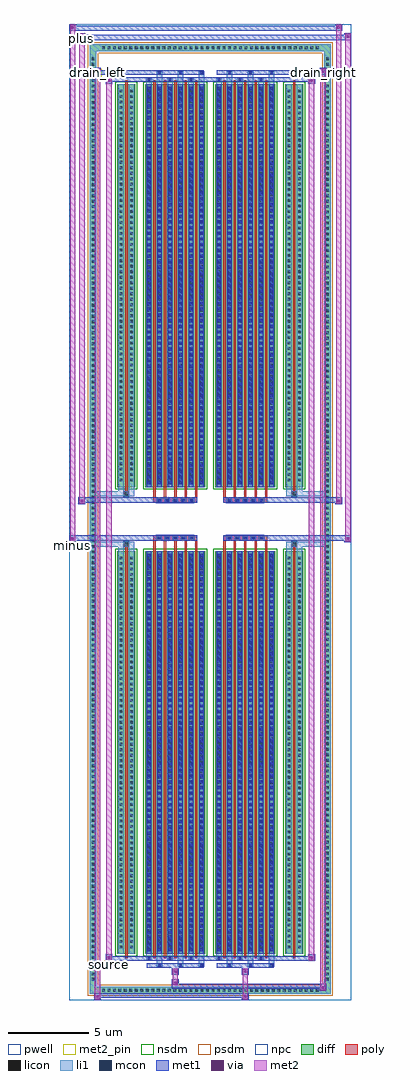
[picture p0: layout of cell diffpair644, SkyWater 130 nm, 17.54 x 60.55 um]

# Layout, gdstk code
import gdstk
lib = gdstk.Library(unit=1e-6, precision=5e-09)
def R(c, l, rs):  # rectangles x0, y0, x1, y1
    for r in rs: c.add(gdstk.rectangle(r[:2], r[2:], *l))
def A(c, l, x, y, w, h, nx, ny, dx, dy):  # array of equal rectangles
    R(c, l, [(x+i*dx, y+j*dy, x+i*dx+w, y+j*dy+h) for i in range(nx) for j in range(ny)])
def P(c, l, *ps):  # polygons
    for p in ps: c.add(gdstk.Polygon(p, *l))
pwell = (64, 44)
diff = (65, 20)
poly = (66, 20)
licon = (66, 44)
li1 = (67, 20)
mcon = (67, 44)
met1 = (68, 20)
via = (68, 44)
met2_pin = (69, 16)
met2 = (69, 20)
nsdm = (93, 44)
psdm = (94, 20)
npc = (95, 20)

diffpair644 = lib.new_cell('diffpair644')
R(diffpair644, pwell, [(-8.75,-29.84,8.75,30.71), (-6.07,-28.03,-0.01,-0.805), (0.01,-28.03,6.07,-0.805), (-6.07,0.805,-0.01,28.03), (0.01,0.805,6.07,28.03)])
A(diffpair644, diff, -6.835, -29.44, 0.41, 0.41, 40, 2, 0.34, 58.47)
A(diffpair644, diff, -7.48, -28.765, 0.41, 0.41, 1, 169, 0, 0.34)
A(diffpair644, diff, 7.07, -28.765, 0.41, 0.41, 1, 169, 0, 0.34)
R(diffpair644, diff, [(-6.835,-29.44,6.835,-29.03), (-7.48,-28.765,-7.07,28.765), (7.07,-28.765,7.48,28.765), (-5.76,-26.985,-4.66,-1.985), (-4.02,-26.985,-0.32,-1.985), (0.32,-26.985,4.02,-1.985), (4.66,-26.985,5.76,-1.985), (-5.76,1.985,-4.66,26.985), (-4.02,1.985,-0.32,26.985), (0.32,1.985,4.02,26.985), (4.66,1.985,5.76,26.985), (-6.835,29.03,6.835,29.44)])
P(diffpair644, diff, [(7.48,29.44),(-7.48,29.44),(-7.48,-29.03),(-7.07,-29.03),(-7.07,29.03),(7.07,29.03),(7.07,-29.03),(-7.07,-29.03),(-7.48,-29.03),(-7.48,-29.44),(7.48,-29.44)])
A(diffpair644, poly, -3.545, -27.235, 0.15, 25.5, 5, 2, 0.65, 28.97)
A(diffpair644, poly, 0.795, -27.235, 0.15, 25.5, 5, 2, 0.65, 28.97)
A(diffpair644, poly, -3.545, -1.735, 0.15, 0.4, 5, 2, 0.65, 3.07)
A(diffpair644, poly, 0.795, -1.735, 0.15, 0.4, 5, 2, 0.65, 3.07)
A(diffpair644, poly, -3.335, -1.335, 0.33, 0.33, 5, 2, 0.5, 2.34)
A(diffpair644, poly, 1.005, -1.335, 0.33, 0.33, 5, 2, 0.5, 2.34)
R(diffpair644, poly, [(-5.285,-27.235,-5.135,-1.735), (5.135,-27.235,5.285,-1.735), (-5.375,-1.735,-5.045,-1.405), (-5.375,-1.735,-5.045,-1.405), (5.045,-1.735,5.375,-1.405), (5.045,-1.735,5.375,-1.405), (-3.545,-1.335,-0.795,-1.005), (0.795,-1.335,3.545,-1.005), (-3.545,1.005,-0.795,1.335), (0.795,1.005,3.545,1.335), (-5.375,1.405,-5.045,1.735), (-5.375,1.405,-5.045,1.735), (5.045,1.405,5.375,1.735), (5.045,1.405,5.375,1.735), (-5.285,1.735,-5.135,27.235), (5.135,1.735,5.285,27.235)])
A(diffpair644, licon, -6.715, -29.32, 0.17, 0.17, 40, 2, 0.34, 58.47)
A(diffpair644, licon, -7.36, -28.645, 0.17, 0.17, 1, 169, 0, 0.34)
A(diffpair644, licon, 7.19, -28.645, 0.17, 0.17, 1, 169, 0, 0.34)
A(diffpair644, licon, -5.62, -26.64, 0.17, 0.17, 1, 72, 0, 0.34)
A(diffpair644, licon, -4.97, -26.64, 0.17, 0.17, 1, 72, 0, 0.34)
A(diffpair644, licon, -3.88, -26.64, 0.17, 0.17, 6, 72, 0.65, 0.34)
A(diffpair644, licon, 0.46, -26.64, 0.17, 0.17, 6, 72, 0.65, 0.34)
A(diffpair644, licon, 4.8, -26.64, 0.17, 0.17, 1, 72, 0, 0.34)
A(diffpair644, licon, 5.45, -26.64, 0.17, 0.17, 1, 72, 0, 0.34)
A(diffpair644, licon, -3.255, -1.255, 0.17, 0.17, 5, 2, 0.5, 2.34)
A(diffpair644, licon, 1.085, -1.255, 0.17, 0.17, 5, 2, 0.5, 2.34)
A(diffpair644, licon, -5.62, 2.33, 0.17, 0.17, 1, 72, 0, 0.34)
A(diffpair644, licon, -4.97, 2.33, 0.17, 0.17, 1, 72, 0, 0.34)
A(diffpair644, licon, -3.88, 2.33, 0.17, 0.17, 6, 72, 0.65, 0.34)
A(diffpair644, licon, 0.46, 2.33, 0.17, 0.17, 6, 72, 0.65, 0.34)
A(diffpair644, licon, 4.8, 2.33, 0.17, 0.17, 1, 72, 0, 0.34)
A(diffpair644, licon, 5.45, 2.33, 0.17, 0.17, 1, 72, 0, 0.34)
R(diffpair644, licon, [(-5.295,-1.655,-5.125,-1.485), (5.125,-1.655,5.295,-1.485), (-5.295,1.485,-5.125,1.655), (5.125,1.485,5.295,1.655)])
A(diffpair644, li1, -6.795, -29.4, 0.33, 0.33, 40, 2, 0.34, 58.47)
A(diffpair644, li1, -7.44, -28.725, 0.33, 0.33, 1, 169, 0, 0.34)
A(diffpair644, li1, 7.11, -28.725, 0.33, 0.33, 1, 169, 0, 0.34)
A(diffpair644, li1, -3.31, -27.79, 0.33, 0.805, 3, 2, 1.3, 54.775)
A(diffpair644, li1, -3.23, -27.79, 0.17, 0.17, 3, 2, 1.3, 55.41)
A(diffpair644, li1, 1.03, -27.79, 0.33, 0.805, 3, 2, 1.3, 54.775)
A(diffpair644, li1, 1.11, -27.79, 0.17, 0.17, 3, 2, 1.3, 55.41)
A(diffpair644, li1, -3.96, -27.36, 0.33, 0.375, 3, 2, 1.3, 54.345)
A(diffpair644, li1, -3.88, -27.36, 0.17, 0.17, 3, 2, 1.3, 54.55)
A(diffpair644, li1, 0.38, -27.36, 0.33, 0.375, 3, 2, 1.3, 54.345)
A(diffpair644, li1, 0.46, -27.36, 0.17, 0.17, 3, 2, 1.3, 54.55)
A(diffpair644, li1, -3.96, -26.985, 0.33, 25, 6, 2, 0.65, 28.97)
A(diffpair644, li1, 0.38, -26.985, 0.33, 25, 6, 2, 0.65, 28.97)
A(diffpair644, li1, -3.88, -26.81, 0.17, 0.17, 6, 69, 0.65, 0.36)
A(diffpair644, li1, -3.88, -26.81, 0.17, 24.65, 6, 2, 0.65, 28.97)
A(diffpair644, li1, 0.46, -26.81, 0.17, 0.17, 6, 69, 0.65, 0.36)
A(diffpair644, li1, 0.46, -26.81, 0.17, 24.65, 6, 2, 0.65, 28.97)
A(diffpair644, li1, -5.7, -26.72, 0.33, 0.33, 1, 72, 0, 0.34)
A(diffpair644, li1, -5.05, -26.72, 0.33, 0.33, 1, 72, 0, 0.34)
A(diffpair644, li1, -3.96, -26.72, 0.33, 0.33, 6, 72, 0.65, 0.34)
A(diffpair644, li1, 0.38, -26.72, 0.33, 0.33, 6, 72, 0.65, 0.34)
A(diffpair644, li1, 4.72, -26.72, 0.33, 0.33, 1, 72, 0, 0.34)
A(diffpair644, li1, 5.37, -26.72, 0.33, 0.33, 1, 72, 0, 0.34)
A(diffpair644, li1, -3.335, -1.335, 0.33, 0.33, 5, 2, 0.5, 2.34)
A(diffpair644, li1, 1.005, -1.335, 0.33, 0.33, 5, 2, 0.5, 2.34)
A(diffpair644, li1, -3.88, 2.16, 0.17, 0.17, 6, 69, 0.65, 0.36)
A(diffpair644, li1, 0.46, 2.16, 0.17, 0.17, 6, 69, 0.65, 0.36)
A(diffpair644, li1, -5.7, 2.25, 0.33, 0.33, 1, 72, 0, 0.34)
A(diffpair644, li1, -5.05, 2.25, 0.33, 0.33, 1, 72, 0, 0.34)
A(diffpair644, li1, -3.96, 2.25, 0.33, 0.33, 6, 72, 0.65, 0.34)
A(diffpair644, li1, 0.38, 2.25, 0.33, 0.33, 6, 72, 0.65, 0.34)
A(diffpair644, li1, 4.72, 2.25, 0.33, 0.33, 1, 72, 0, 0.34)
A(diffpair644, li1, 5.37, 2.25, 0.33, 0.33, 1, 72, 0, 0.34)
R(diffpair644, li1, [(-7.48,-29.44,-7.07,-29.03), (-7.48,-29.44,-7.07,-29.03), (-7.07,-29.44,7.07,-29.03), (7.07,-29.44,7.48,-29.03), (7.07,-29.44,7.48,-29.03), (-7.48,-29.03,-7.07,29.03), (7.07,-29.03,7.48,29.03), (-5.7,-26.985,-5.37,-1.985), (-5.05,-26.985,-4.72,-1.985), (4.72,-26.985,5.05,-1.985), (5.37,-26.985,5.7,-1.985), (-5.7,-1.985,-5.37,-1.405), (-5.05,-1.985,-4.72,-1.405), (4.72,-1.985,5.05,-1.405), (5.37,-1.985,5.7,-1.405), (-7.48,-1.735,-5.375,-1.405), (-5.7,-1.735,-5.375,-1.405), (-5.375,-1.735,-5.045,-1.405), (-5.045,-1.735,-4.72,-1.405), (4.72,-1.735,5.045,-1.405), (5.045,-1.735,5.375,-1.405), (5.045,-1.735,7.48,-1.405), (5.375,-1.735,5.7,-1.405), (-7.48,1.405,-5.375,1.735), (-5.7,1.405,-5.375,1.735), (-5.7,1.405,-5.37,1.985), (-5.375,1.405,-5.045,1.735), (-5.05,1.405,-4.72,1.985), (-5.045,1.405,-4.72,1.735), (4.72,1.405,5.045,1.735), (4.72,1.405,5.05,1.985), (5.045,1.405,5.375,1.735), (5.045,1.405,7.48,1.735), (5.37,1.405,5.7,1.985), (5.375,1.405,5.7,1.735), (-5.7,1.985,-5.37,26.985), (-5.05,1.985,-4.72,26.985), (4.72,1.985,5.05,26.985), (5.37,1.985,5.7,26.985), (-7.48,29.03,-7.07,29.44), (-7.48,29.03,-7.07,29.44), (-7.07,29.03,7.07,29.44), (7.07,29.03,7.48,29.44), (7.07,29.03,7.48,29.44)])
A(diffpair644, mcon, -3.23, -27.79, 0.17, 0.17, 3, 2, 1.3, 55.41)
A(diffpair644, mcon, 1.11, -27.79, 0.17, 0.17, 3, 2, 1.3, 55.41)
A(diffpair644, mcon, -3.88, -27.36, 0.17, 0.17, 3, 2, 1.3, 54.55)
A(diffpair644, mcon, 0.46, -27.36, 0.17, 0.17, 3, 2, 1.3, 54.55)
A(diffpair644, mcon, -3.88, -26.81, 0.17, 0.17, 6, 69, 0.65, 0.36)
A(diffpair644, mcon, 0.46, -26.81, 0.17, 0.17, 6, 69, 0.65, 0.36)
A(diffpair644, mcon, -3.255, -1.255, 0.17, 0.17, 5, 2, 0.5, 2.34)
A(diffpair644, mcon, 1.085, -1.255, 0.17, 0.17, 5, 2, 0.5, 2.34)
A(diffpair644, mcon, -3.88, 2.16, 0.17, 0.17, 6, 69, 0.65, 0.36)
A(diffpair644, mcon, 0.46, 2.16, 0.17, 0.17, 6, 69, 0.65, 0.36)
A(diffpair644, met1, -3.29, -27.85, 0.29, 0.29, 3, 2, 1.3, 55.41)
A(diffpair644, met1, 1.05, -27.85, 0.29, 0.29, 3, 2, 1.3, 55.41)
A(diffpair644, met1, -3.94, -27.42, 0.29, 0.29, 3, 2, 1.3, 54.55)
A(diffpair644, met1, 0.4, -27.42, 0.29, 0.29, 3, 2, 1.3, 54.55)
A(diffpair644, met1, -3.94, -26.985, 0.29, 25, 6, 2, 0.65, 28.97)
A(diffpair644, met1, 0.4, -26.985, 0.29, 25, 6, 2, 0.65, 28.97)
A(diffpair644, met1, -3.94, -26.87, 0.29, 0.29, 6, 69, 0.65, 0.36)
A(diffpair644, met1, 0.4, -26.87, 0.29, 0.29, 6, 69, 0.65, 0.36)
A(diffpair644, met1, -3.315, -1.315, 0.29, 0.29, 5, 2, 0.5, 2.34)
A(diffpair644, met1, 1.025, -1.315, 0.29, 0.29, 5, 2, 0.5, 2.34)
A(diffpair644, met1, -3.94, 2.1, 0.29, 0.29, 6, 69, 0.65, 0.36)
A(diffpair644, met1, 0.4, 2.1, 0.29, 0.29, 6, 69, 0.65, 0.36)
R(diffpair644, met1, [(-7.21,-29.84,-6.78,-29.41), (1.955,-29.84,2.385,-29.41), (-7.21,-29.7,2.385,-29.41), (6.78,-29.27,7.21,-28.84), (-2.385,-29.13,7.21,-28.84), (-2.385,-28.99,-1.955,-28.56), (-2.385,-28.28,-1.955,-27.85), (1.955,-28.28,2.385,-27.85), (-3.94,-27.85,-0.4,-27.56), (0.4,-27.85,3.94,-27.56), (-6.5,-27.42,-6.07,-26.99), (-6.5,-27.42,-3.94,-27.13), (-3.94,-27.42,-0.4,-27.13), (-0.4,-27.42,0.4,-27.13), (0.4,-27.42,3.94,-27.13), (3.94,-27.42,6.5,-27.13), (6.07,-27.42,6.5,-26.99), (-8.75,-1.435,-8.32,-1.005), (8.32,-1.435,8.75,-1.005), (-8.75,-1.335,-0.795,-1.005), (-3.545,-1.335,-0.795,-1.005), (0.795,-1.335,3.545,-1.005), (0.795,-1.335,8.75,-1.005), (-8.18,0.905,-7.75,1.335), (7.75,0.905,8.18,1.335), (-8.18,1.005,-3.545,1.335), (-3.545,1.005,-0.795,1.335), (0.795,1.005,3.545,1.335), (3.545,1.005,8.18,1.335), (-6.5,26.99,-6.07,27.42), (6.07,26.99,6.5,27.42), (-6.5,27.13,-3.94,27.42), (-3.94,27.13,-0.4,27.42), (-0.4,27.13,0.4,27.42), (0.4,27.13,3.94,27.42), (3.94,27.13,6.5,27.42), (-7.21,27.56,-6.78,27.99), (-7.21,27.56,-3.94,27.85), (-3.94,27.56,-0.4,27.85), (0.4,27.56,3.94,27.85), (3.94,27.56,7.21,27.85), (6.78,27.56,7.21,27.99), (-8.18,29.71,-7.75,30.14), (-8.18,29.71,-6.07,30.04), (-6.07,29.71,6.07,30.04), (6.07,29.71,8.75,30.04), (8.32,29.71,8.75,30.14), (-8.75,30.28,-8.32,30.71), (-8.75,30.28,-6.07,30.61), (-6.07,30.28,6.07,30.61), (6.07,30.28,8.18,30.61), (7.75,30.28,8.18,30.71)])
R(diffpair644, via, [(-7.07,-29.7,-6.92,-29.55), (2.095,-29.7,2.245,-29.55), (6.92,-29.13,7.07,-28.98), (-2.245,-28.85,-2.095,-28.7), (-2.245,-28.14,-2.095,-27.99), (2.095,-28.14,2.245,-27.99), (-6.36,-27.28,-6.21,-27.13), (6.21,-27.28,6.36,-27.13), (-8.61,-1.295,-8.46,-1.145), (8.46,-1.295,8.61,-1.145), (-8.04,1.045,-7.89,1.195), (7.89,1.045,8.04,1.195), (-6.36,27.13,-6.21,27.28), (6.21,27.13,6.36,27.28), (-7.07,27.7,-6.92,27.85), (6.92,27.7,7.07,27.85), (-8.04,29.85,-7.89,30), (8.46,29.85,8.61,30), (-8.61,30.42,-8.46,30.57), (7.89,30.42,8.04,30.57)])
R(diffpair644, met2_pin, [(-6.535,-27.87,-6.035,-27.37), (-8.785,-1.885,-8.285,-1.385), (-7.245,27.44,-6.745,27.94), (6.745,27.44,7.245,27.94), (-8.215,29.59,-7.715,30.09)])
R(diffpair644, met2, [(-7.16,-29.79,-6.83,-29.46), (-7.16,-29.79,-6.83,27.94), (2.005,-29.79,2.335,-29.46), (2.005,-29.46,2.335,-28.23), (6.83,-29.22,7.16,-28.89), (6.83,-29.22,7.16,27.94), (-2.335,-28.94,-2.005,-28.61), (-2.335,-28.61,-2.005,-28.23), (-2.335,-28.23,-2.005,-27.9), (2.005,-28.23,2.335,-27.9), (-6.45,-27.37,-6.12,-27.04), (-6.45,-27.37,-6.12,27.37), (6.12,-27.37,6.45,-27.04), (6.12,-27.37,6.45,27.37), (-8.7,-1.385,-8.37,-1.055), (-8.7,-1.385,-8.37,30.66), (8.37,-1.385,8.7,-1.055), (8.37,-1.385,8.7,30.09), (-8.13,0.955,-7.8,1.285), (-8.13,0.955,-7.8,30.09), (7.8,0.955,8.13,1.285), (7.8,0.955,8.13,30.66), (-6.45,27.04,-6.12,27.37), (6.12,27.04,6.45,27.37), (-7.16,27.61,-6.83,27.94), (6.83,27.61,7.16,27.94), (-8.13,29.76,-7.8,30.09), (8.37,29.76,8.7,30.09), (-8.7,30.33,-8.37,30.66), (7.8,30.33,8.13,30.66)])
P(diffpair644, met2, [(8.7,-1.385),(8.7,-1.385),(8.7,-1.055),(8.7,-1.055)],
  [(8.7,29.76),(8.7,29.76),(8.7,30.09),(8.7,30.09)],
  [(-8.37,-1.385),(-8.37,-1.385),(-8.37,-1.055),(-8.37,-1.055)],
  [(-8.37,30.33),(-8.37,30.33),(-8.37,30.66),(-8.37,30.66)],
  [(8.13,0.955),(8.13,0.955),(8.13,1.285),(8.13,1.285)],
  [(8.13,30.33),(8.13,30.33),(8.13,30.66),(8.13,30.66)],
  [(-7.8,0.955),(-7.8,0.955),(-7.8,1.285),(-7.8,1.285)],
  [(-7.8,29.76),(-7.8,29.76),(-7.8,30.09),(-7.8,30.09)],
  [(-6.83,-29.79),(-6.83,-29.79),(-6.83,-29.46),(-6.83,-29.46)],
  [(-6.83,27.61),(-6.83,27.61),(-6.83,27.94),(-6.83,27.94)],
  [(7.16,-29.22),(7.16,-29.22),(7.16,-28.89),(7.16,-28.89)],
  [(7.16,27.61),(7.16,27.61),(7.16,27.94),(7.16,27.94)],
  [(-6.12,-27.37),(-6.12,-27.37),(-6.12,-27.04),(-6.12,-27.04)],
  [(-6.12,27.04),(-6.12,27.04),(-6.12,27.37),(-6.12,27.37)],
  [(6.45,-27.37),(6.45,-27.37),(6.45,-27.04),(6.45,-27.04)],
  [(6.45,27.04),(6.45,27.04),(6.45,27.37),(6.45,27.37)])
R(diffpair644, nsdm, [(-5.89,-27.115,-4.53,-1.855), (-4.15,-27.115,-0.19,-1.855), (0.19,-27.115,4.15,-1.855), (4.53,-27.115,5.89,-1.855), (-5.89,1.855,-4.53,27.115), (-4.15,1.855,-0.19,27.115), (0.19,1.855,4.15,27.115), (4.53,1.855,5.89,27.115)])
P(diffpair644, psdm, [(7.61,29.57),(-7.61,29.57),(-7.61,-28.9),(-6.94,-28.9),(-6.94,28.9),(6.94,28.9),(6.94,-28.9),(-6.94,-28.9),(-7.61,-28.9),(-7.61,-29.57),(7.61,-29.57)])
A(diffpair644, npc, -3.355, -1.355, 0.37, 0.37, 5, 2, 0.5, 2.34)
A(diffpair644, npc, 0.985, -1.355, 0.37, 0.37, 5, 2, 0.5, 2.34)
R(diffpair644, npc, [(-5.395,-1.755,-5.025,-1.385), (5.025,-1.755,5.395,-1.385), (-3.355,-1.355,-2.485,-0.985), (-3.355,-1.355,-2.485,-0.985), (-2.855,-1.355,-1.985,-0.985), (-2.855,-1.355,-1.985,-0.985), (-2.355,-1.355,-1.485,-0.985), (-2.355,-1.355,-1.485,-0.985), (-1.855,-1.355,-0.985,-0.985), (-1.855,-1.355,-0.985,-0.985), (0.985,-1.355,1.855,-0.985), (0.985,-1.355,1.855,-0.985), (1.485,-1.355,2.355,-0.985), (1.485,-1.355,2.355,-0.985), (1.985,-1.355,2.855,-0.985), (1.985,-1.355,2.855,-0.985), (2.485,-1.355,3.355,-0.985), (2.485,-1.355,3.355,-0.985), (-3.355,0.985,-2.485,1.355), (-3.355,0.985,-2.485,1.355), (-2.855,0.985,-1.985,1.355), (-2.855,0.985,-1.985,1.355), (-2.355,0.985,-1.485,1.355), (-2.355,0.985,-1.485,1.355), (-1.855,0.985,-0.985,1.355), (-1.855,0.985,-0.985,1.355), (0.985,0.985,1.855,1.355), (0.985,0.985,1.855,1.355), (1.485,0.985,2.355,1.355), (1.485,0.985,2.355,1.355), (1.985,0.985,2.855,1.355), (1.985,0.985,2.855,1.355), (2.485,0.985,3.355,1.355), (2.485,0.985,3.355,1.355), (-5.395,1.385,-5.025,1.755), (5.025,1.385,5.395,1.755)])
diffpair644.add(gdstk.Label('minus', (-8.535,-1.635), layer=69, texttype=5))
diffpair644.add(gdstk.Label('drain_right', (6.995,27.69), layer=69, texttype=5))
diffpair644.add(gdstk.Label('drain_left', (-6.995,27.69), layer=69, texttype=5))
diffpair644.add(gdstk.Label('source', (-6.285,-27.62), layer=69, texttype=5))
diffpair644.add(gdstk.Label('plus', (-7.965,29.84), layer=69, texttype=5))

lib.write_gds('diffpair644.gds')
